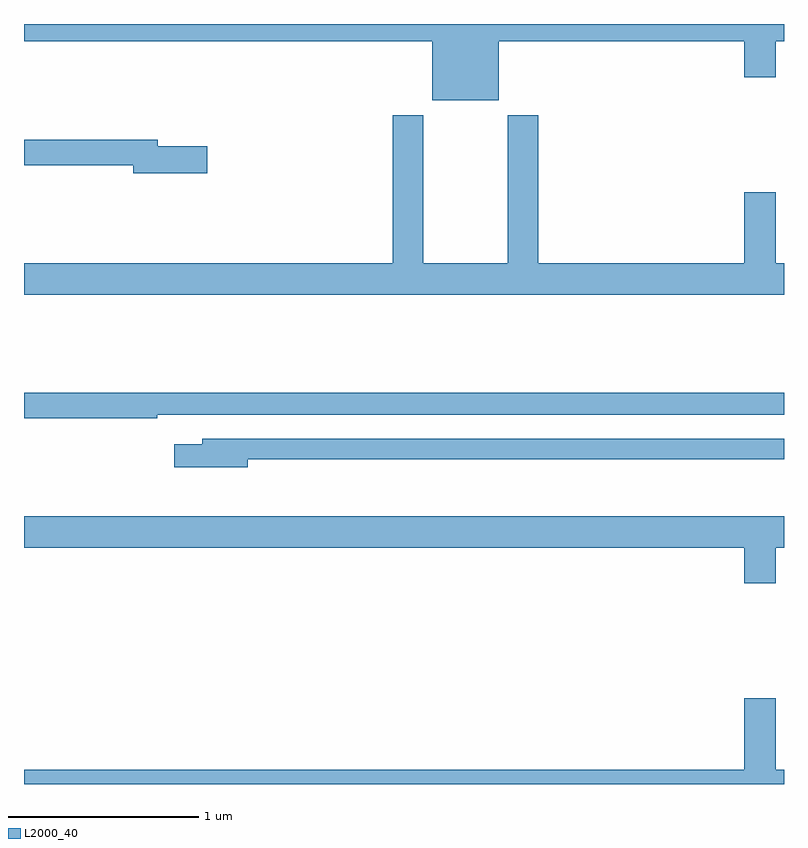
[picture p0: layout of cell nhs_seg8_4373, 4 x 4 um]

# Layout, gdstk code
import gdstk
lib = gdstk.Library(unit=1e-6, precision=1e-09)
def P(c, l, *ps):  # polygons
    for p in ps: c.add(gdstk.Polygon(p, *l))
L2000_40 = (2000, 40)

nhs_seg8_4373 = lib.new_cell('nhs_seg8_4373')
P(nhs_seg8_4373, L2000_40, [(379.498,1141.808),(380.792,1141.808),(380.792,1141.62),(380.956,1141.62),(380.956,1141.808),(381,1141.808),(381,1141.9),(377,1141.9),(377,1141.808),(379.148,1141.808),(379.148,1141.499),(379.498,1141.499)],
  [(381,1140.64),(380.956,1140.64),(380.956,1141.015),(380.792,1141.015),(380.792,1140.64),(379.706,1140.64),(379.706,1141.42),(379.546,1141.42),(379.546,1140.64),(379.101,1140.64),(379.101,1141.42),(378.941,1141.42),(378.941,1140.64),(377,1140.64),(377,1140.476),(381,1140.476)],
  [(377.965,1141.256),(377.704,1141.256),(377.704,1141.292),(377,1141.292),(377,1141.156),(377.576,1141.156),(377.576,1141.114),(377.965,1141.114)],
  [(377.702,1139.844),(381,1139.844),(381,1139.96),(377,1139.96),(377,1139.824),(377.702,1139.824)],
  [(378.178,1139.61),(381,1139.61),(381,1139.718),(377.939,1139.718),(377.939,1139.689),(377.79,1139.689),(377.79,1139.567),(378.178,1139.567)],
  [(380.956,1139.144),(381,1139.144),(381,1139.308),(377,1139.308),(377,1139.144),(380.792,1139.144),(380.792,1138.956),(380.956,1138.956)],
  [(381,1137.976),(380.956,1137.976),(380.956,1138.351),(380.792,1138.351),(380.792,1137.976),(377,1137.976),(377,1137.9),(381,1137.9)])

lib.write_gds('nhs_seg8_4373.gds')
